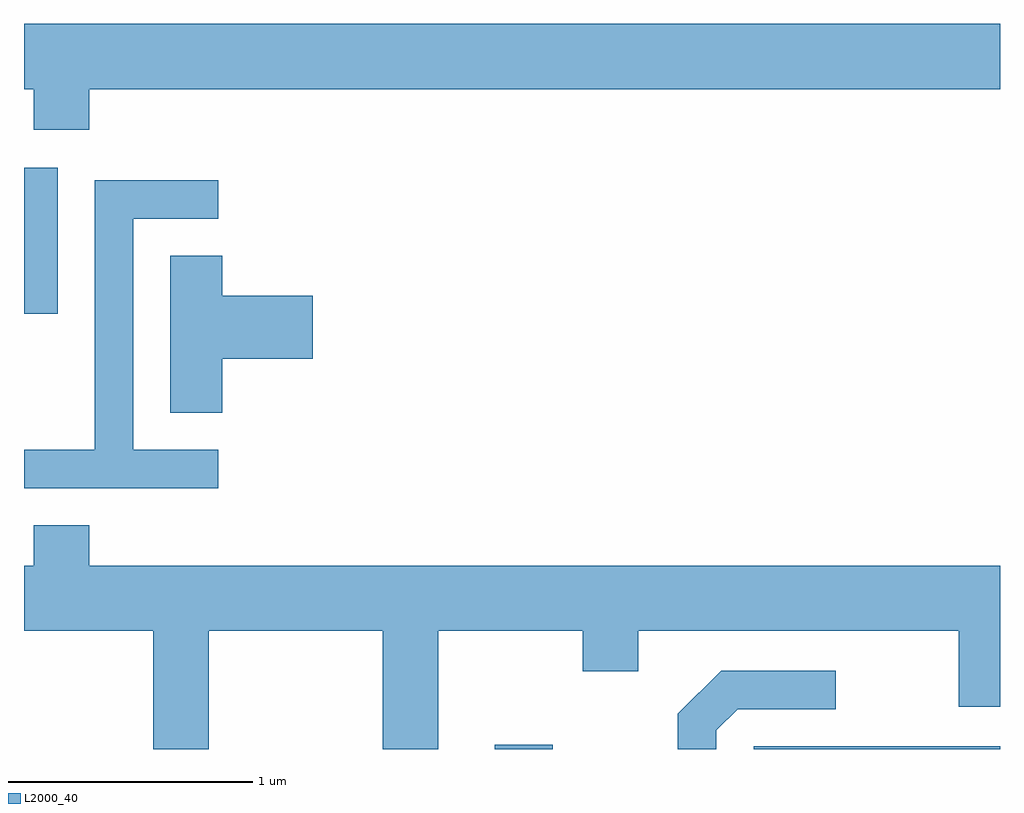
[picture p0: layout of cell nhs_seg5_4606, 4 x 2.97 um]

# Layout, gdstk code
import gdstk
lib = gdstk.Library(unit=1e-6, precision=1e-09)
def R(c, l, rs):  # rectangles x0, y0, x1, y1
    for r in rs: c.add(gdstk.rectangle(r[:2], r[2:], *l))
def P(c, l, *ps):  # polygons
    for p in ps: c.add(gdstk.Polygon(p, *l))
L2000_40 = (2000, 40)

nhs_seg5_4606 = lib.new_cell('nhs_seg5_4606')
R(nhs_seg5_4606, L2000_40, [(323.541,1474.072,323.778,1474.089), (324.601,1474.072,325.611,1474.084), (321.611,1475.856,321.749,1476.454)])
P(nhs_seg5_4606, L2000_40, [(321.879,1476.776),(325.611,1476.776),(325.611,1477.044),(321.611,1477.044),(321.611,1476.776),(321.651,1476.776),(321.651,1476.611),(321.879,1476.611)],
  [(322.408,1475.299),(322.059,1475.299),(322.059,1476.246),(322.408,1476.246),(322.408,1476.404),(321.901,1476.404),(321.901,1475.299),(321.611,1475.299),(321.611,1475.141),(322.408,1475.141)],
  [(322.424,1475.671),(322.794,1475.671),(322.794,1475.929),(322.424,1475.929),(322.424,1476.094),(322.211,1476.094),(322.211,1475.451),(322.424,1475.451)],
  [(322.369,1474.556),(323.081,1474.556),(323.081,1474.072),(323.309,1474.072),(323.309,1474.556),(323.901,1474.556),(323.901,1474.391),(324.129,1474.391),(324.129,1474.556),(325.441,1474.556),(325.441,1474.246),(325.611,1474.246),(325.611,1474.824),(321.879,1474.824),(321.879,1474.989),(321.651,1474.989),(321.651,1474.824),(321.611,1474.824),(321.611,1474.556),(322.141,1474.556),(322.141,1474.072),(322.369,1474.072)],
  [(324.449,1474.149),(324.537,1474.236),(324.938,1474.236),(324.938,1474.394),(324.469,1474.394),(324.291,1474.217),(324.291,1474.072),(324.449,1474.072)])

lib.write_gds('nhs_seg5_4606.gds')
